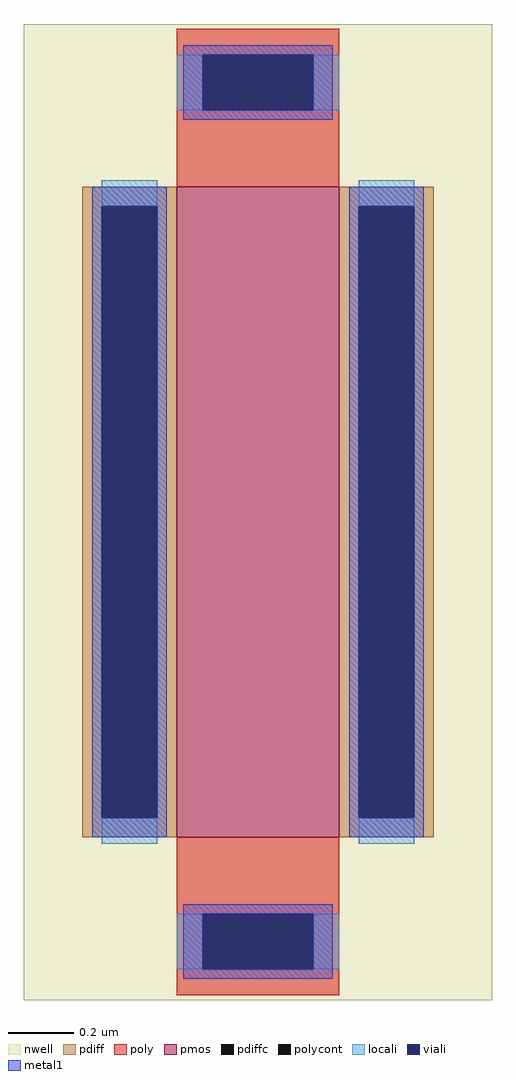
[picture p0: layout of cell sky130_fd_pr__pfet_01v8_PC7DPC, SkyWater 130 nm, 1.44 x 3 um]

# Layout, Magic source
magic
tech sky130B
magscale 1 2
<< nwell >>
rect -144 -300 144 300
<< pmos >>
rect -50 -200 50 200
<< pdiff >>
rect -108 188 -50 200
rect -108 -188 -96 188
rect -62 -188 -50 188
rect -108 -200 -50 -188
rect 50 188 108 200
rect 50 -188 62 188
rect 96 -188 108 188
rect 50 -200 108 -188
<< pdiffc >>
rect -96 -188 -62 188
rect 62 -188 96 188
<< poly >>
rect -50 281 50 297
rect -50 247 -34 281
rect 34 247 50 281
rect -50 200 50 247
rect -50 -247 50 -200
rect -50 -281 -34 -247
rect 34 -281 50 -247
rect -50 -297 50 -281
<< polycont >>
rect -34 247 34 281
rect -34 -281 34 -247
<< locali >>
rect -50 247 -34 281
rect 34 247 50 281
rect -96 188 -62 204
rect -96 -204 -62 -188
rect 62 188 96 204
rect 62 -204 96 -188
rect -50 -281 -34 -247
rect 34 -281 50 -247
<< viali >>
rect -34 247 34 281
rect -96 -188 -62 188
rect 62 -188 96 188
rect -34 -281 34 -247
<< metal1 >>
rect -46 281 46 287
rect -46 247 -34 281
rect 34 247 46 281
rect -46 241 46 247
rect -102 188 -56 200
rect -102 -188 -96 188
rect -62 -188 -56 188
rect -102 -200 -56 -188
rect 56 188 102 200
rect 56 -188 62 188
rect 96 -188 102 188
rect 56 -200 102 -188
rect -46 -247 46 -241
rect -46 -281 -34 -247
rect 34 -281 46 -247
rect -46 -287 46 -281
<< properties >>
string gencell sky130_fd_pr__pfet_01v8
string library sky130
string parameters w 2 l 0.5 m 1 nf 1 diffcov 100 polycov 100 guard 0 glc 1 grc 1 gtc 1 gbc 1 tbcov 100 rlcov 100 topc 1 botc 1 poverlap 0 doverlap 1 lmin 0.15 wmin 0.42 class mosfet compatible {sky130_fd_pr__pfet_01v8  sky130_fd_pr__pfet_01v8_lvt sky130_fd_pr__pfet_01v8_hvt  sky130_fd_pr__pfet_g5v0d10v5} full_metal 0 viasrc 100 viadrn 100 viagate 100 viagb 0 viagr 0 viagl 0 viagt 0
<< end >>
